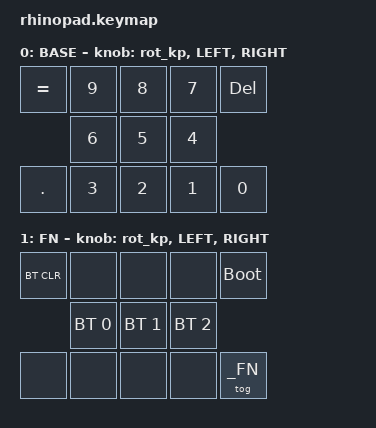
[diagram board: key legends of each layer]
#include <behaviors.dtsi>
#include <dt-bindings/zmk/keys.h>
#include <dt-bindings/zmk/bt.h>

/* Layer indices */
#define _BASE 0
#define _FN   1

/ {
    behaviors {
        /* Encoder rotate → keypress behavior */
        rot_kp: behavior_sensor_rotate_kp {
            compatible = "zmk,behavior-sensor-rotate-var";
            label = "ENC_KP";
            #sensor-binding-cells = <2>;
            bindings = <&kp>, <&kp>;
        };
    };

    keymap {
        compatible = "zmk,keymap";

        /************************
         * LAYER 0 — BASE
         *
         * Layout (13 keys):
         *
         *   =    9    8    7   DEL
         *        6    5    4
         *   .    3    2    1    0
         *
         ************************/
        base_layer {
            label = "BASE";

            bindings = <
                &kp EQUAL   &kp N9   &kp N8   &kp N7   &kp DEL
                             &kp N6   &kp N5   &kp N4
                &kp DOT     &kp N3   &kp N2   &kp N1   &kp N0
            >;

            /* Encoder rotate = scroll left/right (arrow keys) */
            sensor-bindings = <&rot_kp &kp K_LEFT &kp K_RIGHT>;
        };

        /************************
         * LAYER 1 — FN / BLUETOOTH
         *
         * Keep a simple BT management layer:
         *
         *   BT_CLR   ____   ____   ____   BOOT
         *            PF0    PF1    PF2
         *   ____     ____   ____   ____   TOG_FN
         *
         ************************/
        fn_layer {
            label = "FN";

            bindings = <
                &bt BT_CLR   &none        &none        &none        &bootloader
                              &bt BT_SEL 0 &bt BT_SEL 1 &bt BT_SEL 2
                &none        &none        &none        &none        &tog _FN
            >;

            /* Same encoder behavior on this layer */
            sensor-bindings = <&rot_kp &kp K_LEFT &kp K_RIGHT>;
        };
    };
};

